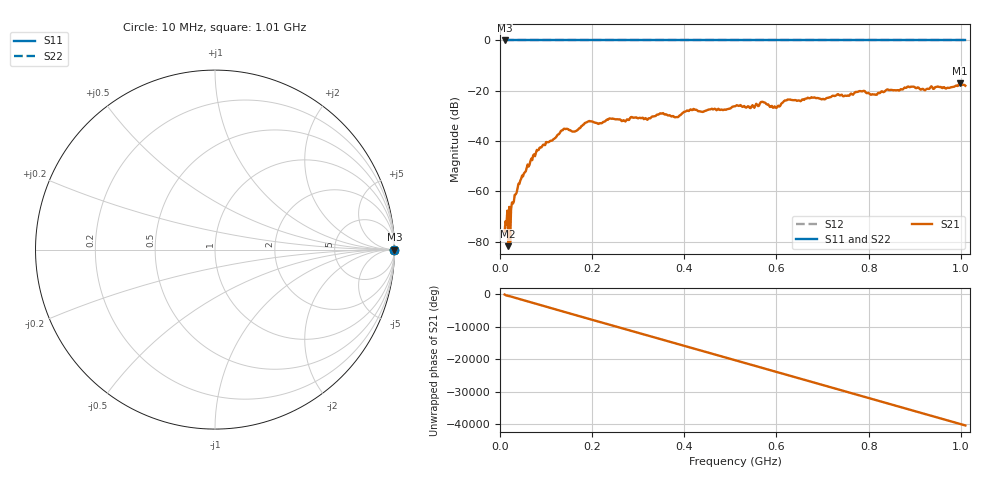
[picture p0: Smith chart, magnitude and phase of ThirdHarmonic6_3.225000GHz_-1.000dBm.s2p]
! 8/17/2025 9:51:32 AM
! C:\ANRITSUVNA\TEMP\TEMP.S2P
! CHANNEL.1
! TR.MEASUREMENT
! RAW.DATA
! RF.CORRECTION.OFF
! AVERAGING.OFF
! IF.BANDWIDTH: 5KHZ
! SWEEPTYPE:  FREQ.SWEEP(Linear)
! Reference Plane Port Info
! PORT:  PORT1  PORT2
! DISTANCE:  0  m  0  m
! TIME:  0  s  0  s
! PHASE.OFFSET:  0  deg.  0  deg.
! LOSS:  0  dB  0  dB
! REF.LOSS:  0  dB  0  dB
! REF.FREQ:  0  Hz  0  Hz
! Power Info
! POWER:  -20  dBm  -20  dBm
! EFF.POWER:  -20  dBm  -20  dBm
! SOURCE.ATTEN:  0  dB  0  dB
! TEST.ATTEN:  0  dB  0  dB
# GHZ S RI R 50.0
! FREQ.GHZ  S11RE  S11IM  S21RE  S21IM  S12RE  S12IM  S22RE  S22IM
!; PortSelection: Port_12
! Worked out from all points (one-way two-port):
!   501 points, 10 MHz to 1.01 GHz, reference 50 ohm
!   highest |S21| = -17.01 dB at 998 MHz (marker M1); lowest = -81.7 dB at 18 MHz (marker M2)
!   lowest |S11| = 0.0 dB at 10 MHz (marker M3)
!   |S11| at or under -10 dB: nowhere
!   |S22| runs from 0.0 to 0.0 dB; largest |S21 - S12| = 1.1
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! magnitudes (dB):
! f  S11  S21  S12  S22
! 10 MHz  0.0  -76.2  0.0  0.0
! 16 MHz  0.0  -67.6  0.0  0.0
! 18 MHz  0.0  -81.7  0.0  0.0
! 26 MHz  0.0  -64.4  0.0  0.0
! 28 MHz  0.0  -64.8  0.0  0.0
! 44 MHz  0.0  -55.7  0.0  0.0
! 76 MHz  0.0  -46.0  0.0  0.0
! 136 MHz  0.0  -35.7  0.0  0.0
! 162 MHz  0.0  -36.2  0.0  0.0
! 178 MHz  0.0  -34.0  0.0  0.0
! 194 MHz  0.0  -32.0  0.0  0.0
! 344 MHz  0.0  -29.4  0.0  0.0
! 382 MHz  0.0  -30.5  0.0  0.0
! 416 MHz  0.0  -27.7  0.0  0.0
! 510 MHz  0.0  -26.2  0.0  0.0
! 570 MHz  0.0  -24.4  0.0  0.0
! 596 MHz  0.0  -26.2  0.0  0.0
! 622 MHz  0.0  -23.8  0.0  0.0
! 678 MHz  0.0  -22.7  0.0  0.0
! 844 MHz  0.0  -19.7  0.0  0.0
! 998 MHz  0.0  -17.0  0.0  0.0
! 1.01 GHz  0.0  -18.0  0.0  0.0
